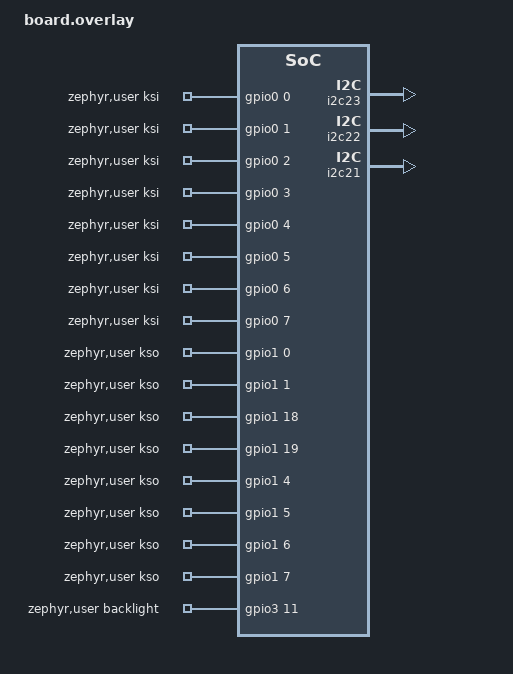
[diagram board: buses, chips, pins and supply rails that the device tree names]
// Framework Daisy keyboard, DVT1.
//
// The Zephyr board itself lives in the framework-daisy-zephyr module (a west
// project, see zephyr-config/west.yml), so everything here is a delta on top of
// it: what CircuitPython needs and the product firmware does not.

// USB CDC console and data plus the HID device. Daisy's USBHS is already
// enabled and labeled zephyr_udc0 by the board.
#include "../../../app.overlay"

// Daisy's RRAM is fully spoken for by daisy_partitions.dtsi -- 96K mcuboot,
// 1828K image-0, 16K storage, exactly the 1940K there is -- so a CIRCUITPY
// drive has to come out of the application slot. mcuboot's offset and the
// storage partition (Bluetooth bond keys) stay exactly where the bootloader
// already on the hardware expects them; only image-0 shrinks.
//
// If a build ever outgrows 1216K the linker says so, and the fix is to move
// this boundary and the circuitpy offset below by the same amount.
//
// Reinstalling firmware over MCUboot's serial recovery erases image-0 as *it*
// understands it, the full 1828K, so a recovery flash takes CIRCUITPY with it.
&slot0_partition {
	reg = <0x18000 DT_SIZE_K(1216)>;
};

&cpuapp_rram {
	partitions {
		circuitpy_partition: partition@148000 {
			label = "circuitpy";
			reg = <0x148000 DT_SIZE_K(612)>;
		};
	};
};

// Bus names. Every enabled I2C controller reaches Python as board.I2C2x
// whatever we do here; these labels are what make the names say which bus is
// which, and zephyr_i2c is the label that additionally designates one of the
// three as plain board.I2C.
//
// The header is the bus a user can physically reach, so it gets board.I2C.
zephyr_i2c: &i2c23 {
	status = "okay";
};

// Touchpad, behind the tp_power rail the board brings up at boot.
tp_i2c: &i2c22 {
	status = "okay";
};

// The nPM1300. Exposed for reading charge state; writing to it controls the
// rails the SoC itself runs on.
npmc_i2c: &i2c21 {
	status = "okay";
};

// This port has no pwmio, and an enabled PWM instance takes its pins away from
// digitalio through pinctrl. Give the four white pairing LEDs, the status RGB
// and the backlight back to CircuitPython as plain GPIO -- board.WHITE_LED_1
// through _4, board.RED_LED / GREEN_LED / BLUE_LED, and board.BACKLIGHT.
&pairing_leds {
	status = "disabled";
};

&rgb_pwmleds {
	status = "disabled";
};

&backlight_pwms {
	status = "disabled";
};

&pwm20 {
	status = "disabled";
};

&pwm21 {
	status = "disabled";
};

&pwm22 {
	status = "disabled";
};

/ {
	zephyr,user {
		// Pins no driver owns still deserve a name in `board`. The key
		// matrix is not part of the Zephyr board at all -- ZMK describes
		// it in its own shield -- so it is named here, giving
		// board.KSI0..KSI7 and board.KSO0..KSO17. Taken from
		// framework-daisy-zmk's daisy_kb_dvt1_nrf54lm20a_cpuapp_zmk.dts.
		//
		// The matrix is col2row and has no diodes, so three keys at the
		// corners of a rectangle read as a fourth. KSO1 and KSO2 are on
		// pins that power up as NFC; the board's UICR already releases
		// them.
		//
		// Only the controller and pin are read here. How a pin is driven
		// is up to the Python code, so the flags are written as the
		// board's defaults rather than as the matrix scan needs them.
		ksi-gpios = <&gpio0 0 GPIO_ACTIVE_HIGH>,
			<&gpio0 1 GPIO_ACTIVE_HIGH>,
			<&gpio0 2 GPIO_ACTIVE_HIGH>,
			<&gpio0 3 GPIO_ACTIVE_HIGH>,
			<&gpio0 4 GPIO_ACTIVE_HIGH>,
			<&gpio0 5 GPIO_ACTIVE_HIGH>,
			<&gpio0 6 GPIO_ACTIVE_HIGH>,
			<&gpio0 7 GPIO_ACTIVE_HIGH>;

		kso-gpios = <&gpio1 0 GPIO_ACTIVE_HIGH>,
			<&gpio1 1 GPIO_ACTIVE_HIGH>,
			<&gpio1 18 GPIO_ACTIVE_HIGH>,
			<&gpio1 19 GPIO_ACTIVE_HIGH>,
			<&gpio1 4 GPIO_ACTIVE_HIGH>,
			<&gpio1 5 GPIO_ACTIVE_HIGH>,
			<&gpio1 6 GPIO_ACTIVE_HIGH>,
			<&gpio1 7 GPIO_ACTIVE_HIGH>,
			<&gpio1 8 GPIO_ACTIVE_HIGH>,
			<&gpio1 9 GPIO_ACTIVE_HIGH>,
			<&gpio1 10 GPIO_ACTIVE_HIGH>,
			<&gpio1 11 GPIO_ACTIVE_HIGH>,
			<&gpio1 12 GPIO_ACTIVE_HIGH>,
			<&gpio1 13 GPIO_ACTIVE_HIGH>,
			<&gpio1 14 GPIO_ACTIVE_HIGH>,
			<&gpio1 15 GPIO_ACTIVE_HIGH>,
			<&gpio1 16 GPIO_ACTIVE_HIGH>,
			<&gpio1 17 GPIO_ACTIVE_HIGH>;

		// Keyboard backlight, freed from pwm22 above.
		backlight-gpios = <&gpio3 11 GPIO_ACTIVE_HIGH>;
	};
};
